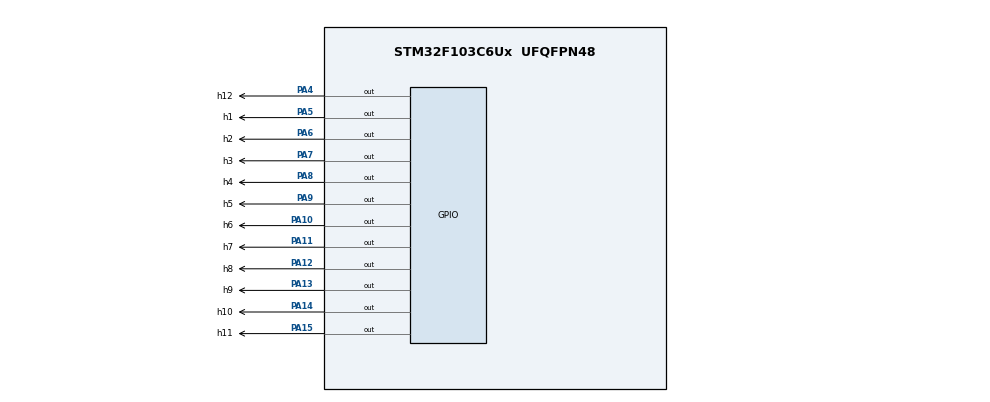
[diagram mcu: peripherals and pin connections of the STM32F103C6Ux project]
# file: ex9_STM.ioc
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Mcu.Family=STM32F1
Mcu.Name=STM32F103C6Ux
Mcu.Package=UFQFPN48
NVIC.PriorityGroup=NVIC_PRIORITYGROUP_4
PA10.GPIO_Label=h6
PA10.Signal=GPIO_Output
PA11.GPIO_Label=h7
PA11.Signal=GPIO_Output
PA12.GPIO_Label=h8
PA12.Signal=GPIO_Output
PA13.GPIO_Label=h9
PA13.Signal=GPIO_Output
PA14.GPIO_Label=h10
PA14.Signal=GPIO_Output
PA15.GPIO_Label=h11
PA15.Signal=GPIO_Output
PA4.GPIO_Label=h12
PA4.Signal=GPIO_Output
PA5.GPIO_Label=h1
PA5.Signal=GPIO_Output
PA6.GPIO_Label=h2
PA6.Signal=GPIO_Output
PA7.GPIO_Label=h3
PA7.Signal=GPIO_Output
PA8.GPIO_Label=h4
PA8.Signal=GPIO_Output
PA9.GPIO_Label=h5
PA9.Signal=GPIO_Output
ProjectManager.HeapSize=0x200
ProjectManager.StackSize=0x400
ProjectManager.TargetToolchain=STM32CubeIDE
RCC.APB1Freq_Value=8000000
RCC.APB2Freq_Value=8000000
VP_SYS_VS_ND.Mode=No_Debug
board=custom

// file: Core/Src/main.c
/* USER CODE BEGIN Header */
/**
  ******************************************************************************
  * @file           : main.c
  * @brief          : Main program body
  ******************************************************************************
  * @attention
  *
  * <h2><center>&copy; Copyright (c) 2022 STMicroelectronics.
  * All rights reserved.</center></h2>
  *
  * This software component is licensed by ST under BSD 3-Clause license,
  * the "License"; You may not use this file except in compliance with the
  * License. You may obtain a copy of the License at:
  *                        opensource.org/licenses/BSD-3-Clause
  *
  ******************************************************************************
  */
/* USER CODE END Header */
#include "main.h"

void SystemClock_Config(void);
static void MX_GPIO_Init(void);

/* USER CODE BEGIN 0 */
void clearAllClock(){
	  HAL_GPIO_WritePin(GPIOA, h12_Pin|h1_Pin|h2_Pin|h3_Pin
	                          |h4_Pin|h5_Pin|h6_Pin|h7_Pin
	                          |h8_Pin|h9_Pin|h10_Pin|h11_Pin, GPIO_PIN_SET);

}
void setNumberOnClock(int num){
	if(num==0){
		clearAllClock();
		HAL_GPIO_WritePin(h12_GPIO_Port, h12_Pin, RESET);
	}
	if(num==1){
		clearAllClock();
		HAL_GPIO_WritePin(h1_GPIO_Port, h1_Pin, RESET);
	}
	if(num==2){
		clearAllClock();
		HAL_GPIO_WritePin(h2_GPIO_Port, h2_Pin, RESET);
	}
	if(num==3){
		clearAllClock();
		HAL_GPIO_WritePin(h3_GPIO_Port, h3_Pin, RESET);
	}
	if(num==4){
		clearAllClock();
		HAL_GPIO_WritePin(h4_GPIO_Port, h4_Pin, RESET);
	}
	if(num==5){
		clearAllClock();
		HAL_GPIO_WritePin(h5_GPIO_Port, h5_Pin, RESET);
	}
	if(num==6){
		clearAllClock();
		HAL_GPIO_WritePin(h6_GPIO_Port, h6_Pin, RESET);
	}
	if(num==7){
		clearAllClock();
		HAL_GPIO_WritePin(h7_GPIO_Port, h7_Pin, RESET);
	}
	if(num==8){
		clearAllClock();
		HAL_GPIO_WritePin(h8_GPIO_Port, h8_Pin, RESET);
	}
	if(num==9){
		clearAllClock();
		HAL_GPIO_WritePin(h9_GPIO_Port, h9_Pin, RESET);
	}
	if(num==10){
		clearAllClock();
		HAL_GPIO_WritePin(h10_GPIO_Port, h10_Pin, RESET);
	}
	if(num==11){
		clearAllClock();
		HAL_GPIO_WritePin(h111_GPIO_Port, h11_Pin, RESET);
	}
}
void ClearNumberOnClock(int num){
	if(num==0) HAL_GPIO_WritePin(h12_GPIO_Port, h12_Pin, SET);
	if(num==1) HAL_GPIO_WritePin(h1_GPIO_Port, h1_Pin, SET);
	if(num==2) HAL_GPIO_WritePin(h2_GPIO_Port, h2_Pin, SET);
	if(num==3) HAL_GPIO_WritePin(h3_GPIO_Port, h3_Pin, SET);
	if(num==4) HAL_GPIO_WritePin(h4_GPIO_Port, h4_Pin, SET);
	if(num==5) HAL_GPIO_WritePin(h5_GPIO_Port, h5_Pin, SET);
	if(num==6) HAL_GPIO_WritePin(h6_GPIO_Port, h6_Pin, SET);
	if(num==7) HAL_GPIO_WritePin(h7_GPIO_Port, h7_Pin, SET);
	if(num==8) HAL_GPIO_WritePin(h8_GPIO_Port, h8_Pin, SET);
	if(num==9) HAL_GPIO_WritePin(h9_GPIO_Port, h9_Pin, SET);
	if(num==10) HAL_GPIO_WritePin(h10_GPIO_Port, h10_Pin, SET);
	if(num==11) HAL_GPIO_WritePin(h11_GPIO_Port, h11_Pin, SET);
}
/* USER CODE END 0 */

int main(void)
{

  /* MCU Configuration--------------------------------------------------------*/

  /* Reset of all peripherals, Initializes the Flash interface and the Systick. */
  HAL_Init();

  /* Configure the system clock */
  SystemClock_Config();

  /* Initialize all configured peripherals */
  MX_GPIO_Init();

  /* Infinite loop */
  /* USER CODE BEGIN WHILE */
  setNumberOnClock(0);
  HAL_Delay(1000);
  ClearNumberOnClock(0);
  while (1)
  {
    /* USER CODE END WHILE */

  }
}

void SystemClock_Config(void)
{
  RCC_OscInitTypeDef RCC_OscInitStruct = {0};
  RCC_ClkInitTypeDef RCC_ClkInitStruct = {0};

  /** Initializes the RCC Oscillators according to the specified parameters
  * in the RCC_OscInitTypeDef structure.
  */
  RCC_OscInitStruct.OscillatorType = RCC_OSCILLATORTYPE_HSI;
  RCC_OscInitStruct.HSIState = RCC_HSI_ON;
  RCC_OscInitStruct.HSICalibrationValue = RCC_HSICALIBRATION_DEFAULT;
  RCC_OscInitStruct.PLL.PLLState = RCC_PLL_NONE;
  if (HAL_RCC_OscConfig(&RCC_OscInitStruct) != HAL_OK)
  {
    Error_Handler();
  }
  /** Initializes the CPU, AHB and APB buses clocks
  */
  RCC_ClkInitStruct.ClockType = RCC_CLOCKTYPE_HCLK|RCC_CLOCKTYPE_SYSCLK
                              |RCC_CLOCKTYPE_PCLK1|RCC_CLOCKTYPE_PCLK2;
  RCC_ClkInitStruct.SYSCLKSource = RCC_SYSCLKSOURCE_HSI;
  RCC_ClkInitStruct.AHBCLKDivider = RCC_SYSCLK_DIV1;
  RCC_ClkInitStruct.APB1CLKDivider = RCC_HCLK_DIV1;
  RCC_ClkInitStruct.APB2CLKDivider = RCC_HCLK_DIV1;

  if (HAL_RCC_ClockConfig(&RCC_ClkInitStruct, FLASH_LATENCY_0) != HAL_OK)
  {
    Error_Handler();
  }
}

static void MX_GPIO_Init(void)
{
  GPIO_InitTypeDef GPIO_InitStruct = {0};

  /* GPIO Ports Clock Enable */
  __HAL_RCC_GPIOA_CLK_ENABLE();

  /*Configure GPIO pin Output Level */
  HAL_GPIO_WritePin(GPIOA, h12_Pin|h1_Pin|h2_Pin|h3_Pin
                          |h4_Pin|h5_Pin|h6_Pin|h7_Pin
                          |h8_Pin|h9_Pin|h10_Pin|h11_Pin, GPIO_PIN_RESET);

  /*Configure GPIO pins : h12_Pin h1_Pin h2_Pin h3_Pin
                           h4_Pin h5_Pin h6_Pin h7_Pin
                           h8_Pin h9_Pin h10_Pin h11_Pin */
  GPIO_InitStruct.Pin = h12_Pin|h1_Pin|h2_Pin|h3_Pin
                          |h4_Pin|h5_Pin|h6_Pin|h7_Pin
                          |h8_Pin|h9_Pin|h10_Pin|h11_Pin;
  GPIO_InitStruct.Mode = GPIO_MODE_OUTPUT_PP;
  GPIO_InitStruct.Pull = GPIO_NOPULL;
  GPIO_InitStruct.Speed = GPIO_SPEED_FREQ_LOW;
  HAL_GPIO_Init(GPIOA, &GPIO_InitStruct);

}

void Error_Handler(void)
{
  __disable_irq();
  while (1)
  {
  }
}

/************************ (C) COPYRIGHT STMicroelectronics *****END OF FILE****/
